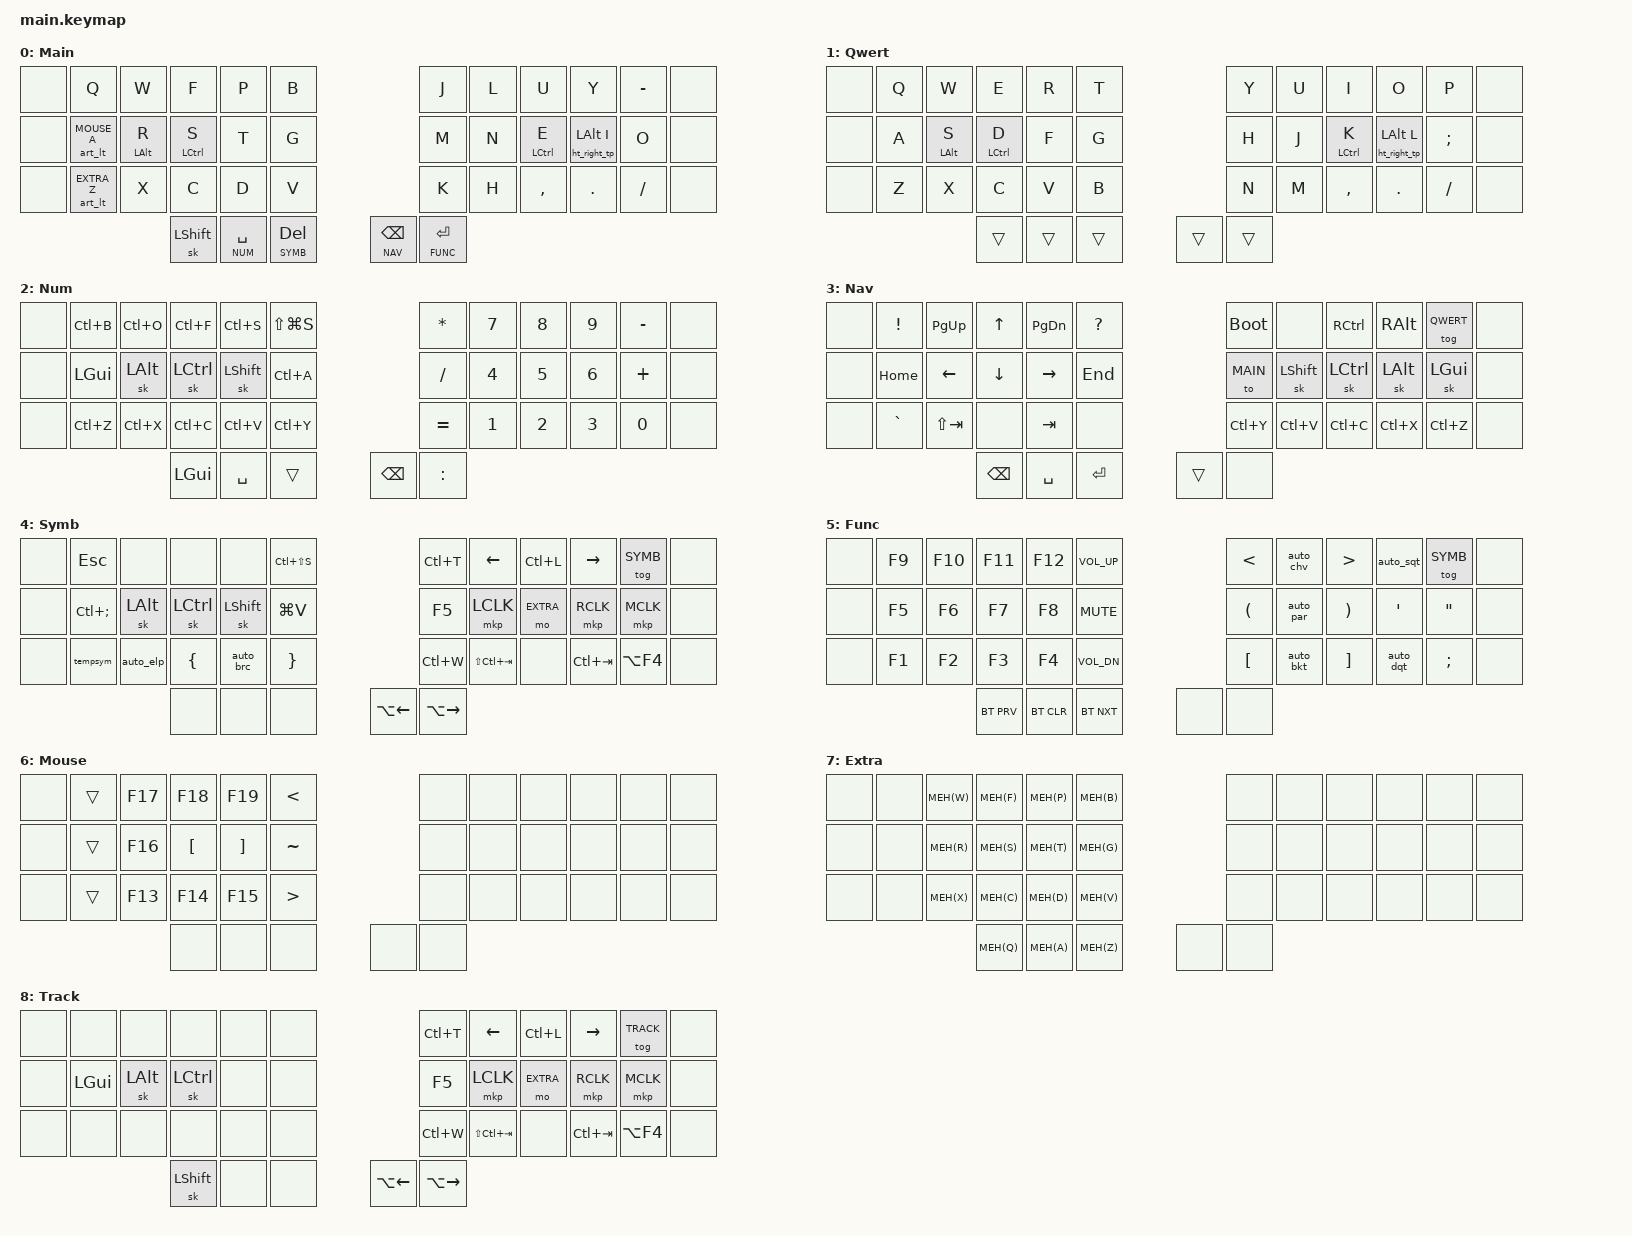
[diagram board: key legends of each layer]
/* upstream bindings and behaviors */
#include <behaviors.dtsi>
#include <dt-bindings/zmk/bt.h>
#include <dt-bindings/zmk/keys.h>
#include <dt-bindings/zmk/mouse.h>
#include <dt-bindings/zmk/outputs.h>
#include <behaviors/mouse_keys.dtsi>
#include <dt-bindings/zmk/ext_power.h>

/* local overlays */
#include "keymap_features/prospector_brightness.dtsi"
#include "keymap_features/macros.dtsi"
#include "keymap_features/behaviors.dtsi"
#include "keymap_features/combos.dtsi"

/ {
/* --- KEYMAP CONFIG --- */
// ╭──────┬──────┬──────┬──────┬──────┬──────╮  ╭──────┬──────┬──────┬──────┬──────┬──────╮
//    00     01     02     03    04      05        06     07     08     09     10     11
// ├──────┼──────┼──────┼──────┼──────┼──────┤  ├──────┼──────┼──────┼──────┼──────┼──────┤
//    12     13     14     15    16      17        18     19     20     21     22     23
// ├──────┼──────┼──────┼──────┼──────┼──────┤  ├──────┼──────┼──────┼──────┼──────┼──────┤
//    24     25     26     27    28      29        30     31     32     33     34     35
// ╰──────┴──────┴──────┼──────┼──────┼──────┤  ├──────┼──────┼──────┴──────┴──────┴──────╯
//                         36     37     38        39     40
//                      ╰──────┴──────┴──────╯  ╰──────┴──────╯
#define MAIN    0
#define QWERT   1
#define NUM     2
#define NAV     3
#define SYMB    4
#define FUNC    5
#define MOUSE   6
#define EXTRA   7
#define TRACK   8

#define MEH(key) LA(LS(LC(key)))

// This shared keymap builds for prospector and non-prospector firmwares. 
// This stubs the key bindings that are contained in the prospector module
// so non-prospector firmware can build.
#ifndef CONFIG_SHIELD_PROSPECTOR_ADAPTER
    behaviors {
        /omit-if-no-ref/ pbl: prospector_brightness_stub {
            compatible = "zmk,behavior-macro-two-param";
            #binding-cells = <2>;
            bindings = <&none>;
        };
    };
#endif


    keymap {
        compatible = "zmk,keymap";

        Main {
            display-name = "Main";
            bindings = <
    &none    &kp Q            &kp W      &kp F      &kp P     &kp B                     &kp J     &kp L    &kp U    &kp Y      &kp MINUS   &none 
    &none     &art_lt MOUSE A  &ht_left LALT R  &ht_left LCTRL S  &kp T  &kp G          &kp M     &kp N  &ht_right LCTRL E  &ht_right_tp LALT I  &kp O       &none
    &none    &art_lt EXTRA Z  &kp X      &kp C      &kp D     &kp V                     &kp K    &kp H    &kp COMMA  &kp DOT  &kp FSLH   &none
                               &sk LSHFT   &lt NUM SPACE  &lt SYMB DEL                  &lt NAV BSPC  &lt FUNC RET
            >;
        };

        Qwert {
            display-name = "Qwert";
            bindings = <
    &none    &kp Q  &kp W      &kp E      &kp R  &kp T                         &kp Y    &kp U      &kp I    &kp O     &kp P   &none    
    &none    &kp A  &ht_left LALT S  &ht_left LCTRL D  &kp F  &kp G            &kp H    &kp J  &ht_right LCTRL K  &ht_right_tp LALT L  &kp SEMI   &none   
    &none    &kp Z  &kp X      &kp C      &kp V  &kp B                         &kp N    &kp M  &kp COMMA  &kp DOT  &kp FSLH   &none 
                             &trans    &trans  &trans               &trans   &trans
            >;
        };

        Num {
            display-name = "Num";
            bindings = <
&none   &kp LC(B) &kp LC(O)   &kp LC(F) &kp LC(S) &kp LS(LG(S))        &kp ASTRK  &kp N7   &kp N8  &kp N9  &kp MINUS   &none  
&none   &kp LGUI &sk LEFT_ALT &sk LCTRL &sk LSHFT &kp LC(A)            &kp FSLH   &kp N4   &kp N5  &kp N6  &kp PLUS    &none  
&none   &kp LC(Z) &kp LC(X)  &kp LC(C) &kp LC(V) &kp LC(Y)             &kp EQUAL  &kp N1   &kp N2  &kp N3  &kp N0      &none
                               &kp LGUI  &kp SPACE    &trans              &kp BSPC  &kp COLON
            >;
        };

        Nav {
            display-name = "Nav";
            bindings = <
    &none    &kp EXCL   &kp PG_UP &kp UP   &kp PG_DN  &kp QMARK          &bootloader   &none   &kp RCTRL  &kp RALT  &tog QWERT    &none  
    &none    &kp HOME   &kp LEFT  &kp DOWN &kp RIGHT  &kp END            &to MAIN  &sk LSHFT   &sk LCTRL  &sk LEFT_ALT &sk LGUI   &none  
    &none    &kp GRAVE  &kp LS(TAB) &none &kp TAB  &none                 &kp LC(Y) &kp LC(V)   &kp LC(C)   &kp LC(X)   &kp LC(Z)   &none
                        &kp BSPC  &kp SPACE  &kp RET                   &trans    &none
            >;
        };


        SYMB {
            display-name = "Symb";
            bindings = <
       &none    &kp ESC       &none    &none     &none     &kp LC(LS(S))                    &kp LC(T)  &kp LEFT &kp LC(L) &kp RIGHT &tog SYMB           &none  
       &none    &kp LC(SEMI)  &sk LALT &sk LCTRL &sk LSHFT &kp LG(V)                        &kp F5  &mkp LCLK &mo EXTRA &mkp RCLK &mkp MCLK              &none  
       &none    &tempsym    &auto_elp  &kp LBRC  &auto_brc &kp RBRC                         &kp LC(W)  &kp LS(LC(TAB))  &none  &kp LC(TAB) &kp LA(F4)    &none  
                                      &none      &none  &none                               &kp LA(LEFT)   &kp LA(RIGHT)
            >;
        };

        Func {
            display-name = "Func";
            bindings = <
  &none    &kp F9  &kp F10  &kp F11  &kp F12    &kp C_VOL_UP            &kp LT    &auto_chv  &kp GT   &auto_sqt &tog SYMB       &none  
  &none    &kp F5  &kp F6   &kp F7   &kp F8     &kp C_MUTE              &kp LPAR  &auto_par  &kp RPAR &kp SQT   &kp DQT         &none 
  &none    &kp F1  &kp F2   &kp F3   &kp F4     &kp C_VOL_DN            &kp LBKT  &auto_bkt  &kp RBKT &auto_dqt &kp SEMI        &none
                               &bt BT_PRV  &bt BT_CLR  &bt BT_NXT       &none     &none
            >;
        };


        Mouse {
            display-name = "Mouse";
            bindings = <
     &none    &trans  &kp F17     &kp F18     &kp F19     &kp LT       &none &none &none &none &none   &none 
     &none    &trans  &kp F16     &kp LBKT     &kp RBKT    &kp TILDE   &none &none &none &none &none   &none 
     &none    &trans  &kp F13     &kp F14     &kp F15     &kp GT       &none &none &none &none &none   &none
                              &none   &none   &none                    &none   &none
            >;
        };

        Extra {
            display-name = "Extra";
            bindings = <
      &none    &none  &kp MEH(W)  &kp MEH(F)  &kp MEH(P)  &kp MEH(B)       &none &none &none &none &none   &none 
      &none    &none  &kp MEH(R)  &kp MEH(S)  &kp MEH(T)  &kp MEH(G)       &none &none &none &none &none   &none 
      &none    &none  &kp MEH(X)  &kp MEH(C)  &kp MEH(D)  &kp MEH(V)       &none &none &none &none &none   &none
                              &kp MEH(Q)  &kp MEH(A)  &kp MEH(Z)           &none   &none
            >;
        };

        Track {
            display-name = "Track";
            bindings = <
      &none    &none   &none &none &none &none                       &kp LC(T)  &kp LEFT &kp LC(L) &kp RIGHT &tog TRACK   &none 
      &none    &kp LGUI &sk LEFT_ALT &sk LCTRL &none &none           &kp F5  &mkp LCLK &mo EXTRA &mkp RCLK &mkp MCLK   &none  
      &none    &none   &none &none &none &none                       &kp LC(W)  &kp LS(LC(TAB))  &none  &kp LC(TAB) &kp LA(F4)   &none
                                  &sk LSHFT &none &none                  &kp LA(LEFT)   &kp LA(RIGHT)
            >;
        };


    };
};
